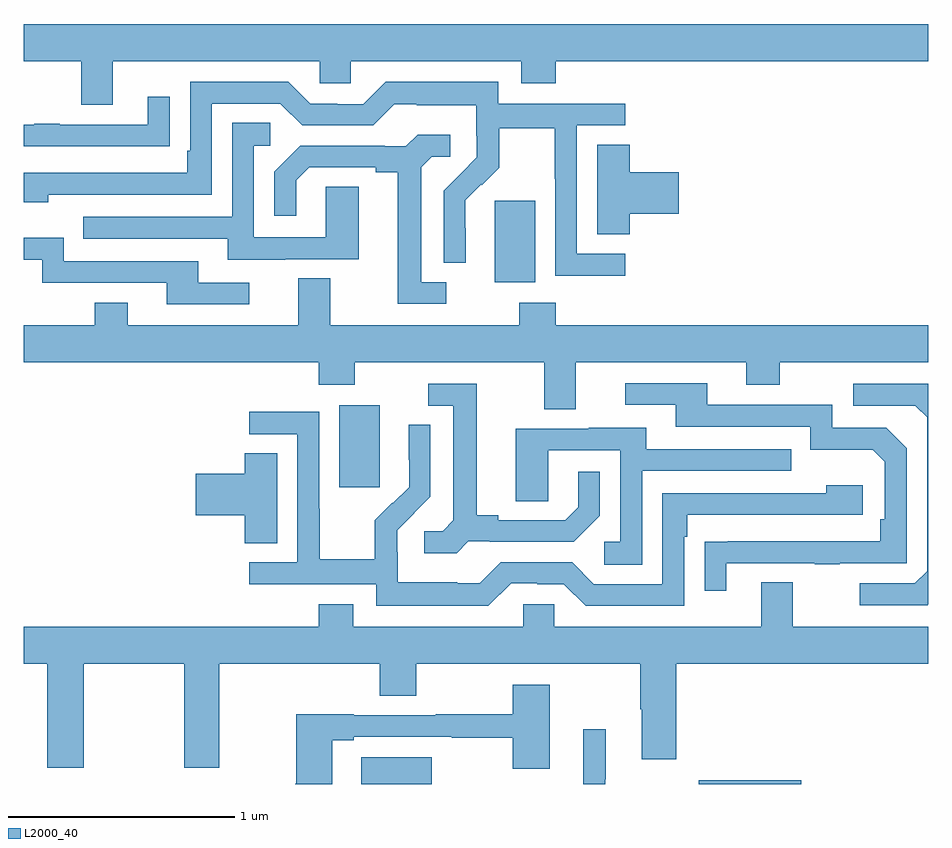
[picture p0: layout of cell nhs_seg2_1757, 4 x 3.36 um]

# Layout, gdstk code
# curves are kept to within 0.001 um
import gdstk
lib = gdstk.Library(unit=1e-6, precision=1e-09)
def R(c, l, rs):  # rectangles x0, y0, x1, y1
    for r in rs: c.add(gdstk.rectangle(r[:2], r[2:], *l))
def P(c, l, *ps):  # polygons
    for p in ps: c.add(gdstk.Polygon(p, *l))
L2000_40 = (2000, 40)

nhs_seg2_1757 = lib.new_cell('nhs_seg2_1757')
R(nhs_seg2_1757, L2000_40, [(205.984,617.8,206.438,617.816), (204.395,619.113,204.574,619.474), (205.082,620.018,205.261,620.379)])
P(nhs_seg2_1757, L2000_40, [(203.395,620.996),(204.309,620.996),(204.309,620.898),(204.447,620.898),(204.447,620.996),(205.199,620.996),(205.199,620.897),(205.352,620.897),(205.352,620.996),(207,620.996),(207,621.16),(203,621.16),(203,620.996),(203.255,620.996),(203.255,620.802),(203.395,620.802)],
  [(205.66,620.145),(205.446,620.145),(205.446,620.712),(205.66,620.712),(205.66,620.808),(205.098,620.808),(205.098,620.905),(204.601,620.905),(204.501,620.805),(204.386,620.805),(204.386,620.808),(204.267,620.808),(204.171,620.904),(203.736,620.904),(203.736,620.599),(203.723,620.599),(203.723,620.502),(203,620.502),(203,620.372),(203.108,620.372),(203.108,620.406),(203.832,620.406),(203.832,620.808),(204.135,620.808),(204.231,620.712),(204.546,620.712),(204.639,620.805),(204.739,620.805),(204.739,620.801),(205.002,620.801),(205.002,620.667),(205.004,620.667),(205.004,620.57),(204.858,620.422),(204.858,620.104),(204.954,620.104),(204.953,620.381),(205.023,620.451),(205.026,620.448),(205.103,620.525),(205.103,620.7),(205.348,620.7),(205.348,620.476),(205.35,620.476),(205.35,620.047),(205.66,620.047)],
  [(203.543,620.62),(203.645,620.62),(203.645,620.839),(203.549,620.839),(203.549,620.715),(203.159,620.715),(203.159,620.72),(203.047,620.72),(203.047,620.715),(203,620.715),(203,620.619),(203.543,620.619)],
  [(204.157,620.121),(204.481,620.121),(204.481,620.441),(204.336,620.441),(204.336,620.217),(204.018,620.217),(204.018,620.622),(204.091,620.622),(204.091,620.723),(203.922,620.723),(203.922,620.307),(203.263,620.307),(203.263,620.211),(203.903,620.211),(203.903,620.117),(204.157,620.117)],
  [(204.868,620.019),(204.757,620.019),(204.757,620.527),(204.804,620.574),(204.886,620.574),(204.886,620.671),(204.742,620.671),(204.69,620.619),(204.596,620.619),(204.596,620.622),(204.224,620.622),(204.108,620.506),(204.108,620.313),(204.205,620.313),(204.205,620.469),(204.262,620.526),(204.557,620.526),(204.557,620.504),(204.653,620.504),(204.653,619.923),(204.868,619.923)],
  [(205.679,620.321),(205.897,620.321),(205.897,620.504),(205.679,620.504),(205.679,620.627),(205.535,620.627),(205.535,620.23),(205.679,620.23)],
  [(203.998,620.016),(203.773,620.016),(203.773,620.112),(203.178,620.112),(203.178,620.215),(203,620.215),(203,620.118),(203.082,620.118),(203.082,620.016),(203.633,620.016),(203.633,619.92),(203.998,619.92)],
  [(205.441,619.664),(206.195,619.664),(206.195,619.565),(206.343,619.565),(206.343,619.664),(207,619.664),(207,619.828),(205.352,619.828),(205.352,619.927),(205.192,619.927),(205.192,619.828),(204.355,619.828),(204.355,620.036),(204.215,620.036),(204.215,619.828),(203.461,619.828),(203.461,619.927),(203.314,619.927),(203.314,619.828),(203,619.828),(203,619.664),(204.305,619.664),(204.305,619.565),(204.465,619.565),(204.465,619.664),(205.301,619.664),(205.301,619.456),(205.441,619.456)],
  [(206.107,618.777),(206.497,618.777),(206.497,618.772),(206.609,618.772),(206.609,618.777),(206.904,618.777),(206.904,619.284),(206.814,619.374),(206.574,619.374),(206.574,619.476),(206.023,619.476),(206.023,619.572),(205.659,619.572),(205.659,619.476),(205.883,619.476),(205.883,619.38),(206.478,619.38),(206.478,619.277),(206.755,619.277),(206.808,619.224),(206.808,618.97),(206.788,618.97),(206.788,618.873),(206.011,618.872),(206.011,618.654),(206.107,618.654)],
  [(207,618.594),(207,619.569),(206.667,619.569),(206.667,619.473),(206.943,619.473),(206.994,619.422),(206.994,618.741),(206.94,618.687),(206.697,618.687),(206.697,618.591),(206.997,618.591)],
  [(204.966,618.873),(205.06,618.873),(205.06,618.87),(205.432,618.87),(205.548,618.986),(205.548,619.18),(205.451,619.18),(205.451,619.023),(205.394,618.966),(205.099,618.966),(205.099,618.989),(205.003,618.989),(205.003,619.569),(204.789,619.569),(204.789,619.473),(204.899,619.473),(204.899,618.965),(204.852,618.918),(204.771,618.918),(204.771,618.821),(204.914,618.821)],
  [(205.155,618.687),(205.271,618.687),(205.271,618.684),(205.389,618.684),(205.485,618.588),(205.92,618.588),(205.92,618.893),(205.933,618.893),(205.933,618.99),(206.71,618.99),(206.71,619.12),(206.549,619.12),(206.549,619.086),(205.824,619.086),(205.824,618.684),(205.521,618.684),(205.425,618.78),(205.11,618.78),(205.017,618.687),(204.917,618.687),(204.917,618.691),(204.654,618.691),(204.654,618.825),(204.652,618.825),(204.652,618.922),(204.798,619.07),(204.798,619.388),(204.702,619.388),(204.702,619.234),(204.704,619.234),(204.704,619.112),(204.633,619.041),(204.63,619.044),(204.553,618.967),(204.553,618.793),(204.309,618.793),(204.309,619.016),(204.306,619.016),(204.306,619.446),(203.997,619.446),(203.997,619.347),(204.21,619.347),(204.21,618.78),(203.997,618.78),(203.997,618.684),(204.558,618.684),(204.558,618.587),(205.055,618.587)],
  [(205.734,619.185),(206.393,619.185),(206.393,619.281),(205.753,619.281),(205.753,619.375),(205.499,619.375),(205.499,619.371),(205.175,619.371),(205.175,619.051),(205.32,619.051),(205.32,619.275),(205.638,619.275),(205.638,618.87),(205.566,618.87),(205.566,618.769),(205.734,618.769)],
  [(204.121,619.262),(203.978,619.262),(203.978,619.172),(203.76,619.172),(203.76,618.989),(203.978,618.989),(203.978,618.865),(204.121,618.865)],
  [(203,618.332),(203.105,618.332),(203.105,617.871),(203.265,617.871),(203.265,618.332),(203.71,618.332),(203.71,617.871),(203.865,617.871),(203.865,618.332),(204.575,618.332),(204.575,618.19),(204.735,618.19),(204.735,618.332),(205.726,618.332),(205.726,618.13),(205.733,618.13),(205.733,617.91),(205.886,617.91),(205.886,618.332),(207,618.332),(207,618.496),(206.401,618.496),(206.401,618.691),(206.261,618.691),(206.261,618.496),(205.347,618.496),(205.347,618.594),(205.209,618.594),(205.209,618.496),(204.457,618.496),(204.457,618.595),(204.305,618.595),(204.305,618.496),(203,618.496)],
  [(204.364,617.993),(204.46,617.993),(204.46,618.009),(204.892,618.009),(204.892,618.004),(205.162,618.004),(205.162,617.868),(205.327,617.868),(205.327,618.238),(205.162,618.238),(205.162,618.108),(204.823,618.108),(204.823,618.105),(204.46,618.105),(204.46,618.108),(204.205,618.108),(204.205,617.802),(204.2,617.802),(204.2,617.8),(204.364,617.8)],
  [(205.572,617.821),(205.573,617.821),(205.573,618.043),(205.475,618.043),(205.475,617.8),(205.572,617.8)],
  [(204.805,617.919),(204.493,617.919),(204.493,617.816),(204.492,617.816),(204.492,617.8),(204.805,617.8)])

lib.write_gds('nhs_seg2_1757.gds')
